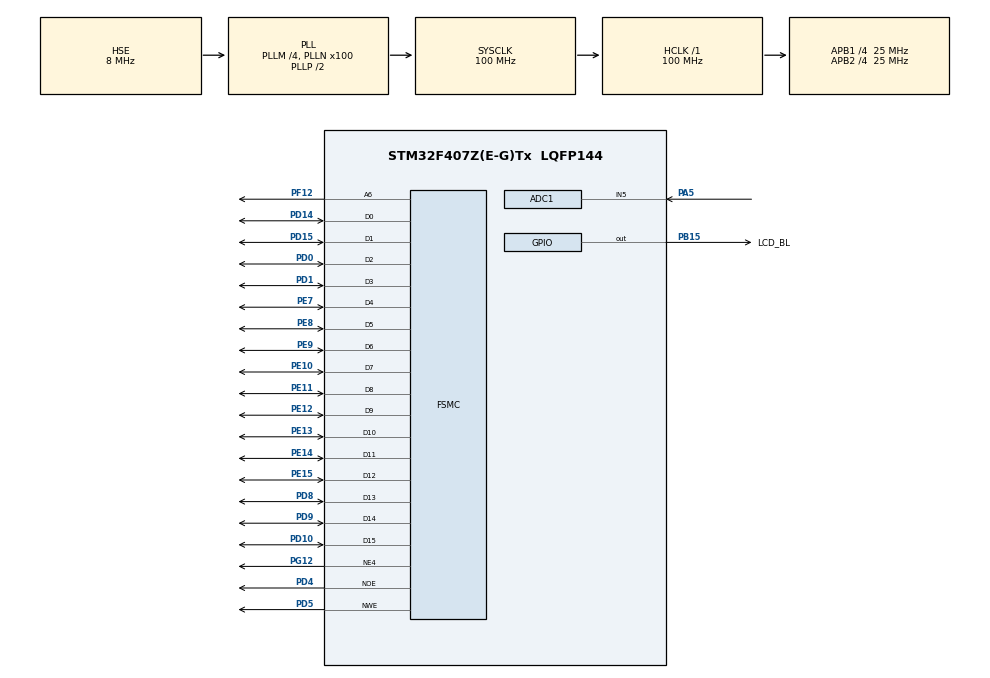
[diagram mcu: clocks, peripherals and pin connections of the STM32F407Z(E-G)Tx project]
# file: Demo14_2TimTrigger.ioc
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ADC1.Channel-0\#ChannelRegularConversion=ADC_CHANNEL_5
ADC1.EnableAnalogWatchDog=false
ADC1.ExternalTrigConv=ADC_EXTERNALTRIGCONV_T3_TRGO
ADC1.InjNumberOfConversion=0
ADC1.NbrOfConversion=1
ADC1.NbrOfConversionFlag=1
ADC1.Rank-0\#ChannelRegularConversion=1
ADC1.Resolution=ADC_RESOLUTION_12B
ADC1.SamplingTime-0\#ChannelRegularConversion=ADC_SAMPLETIME_28CYCLES
ADC1.master=1
FSMC.AccessMode4=FSMC_ACCESS_MODE_A
FSMC.AddressSetupTime4=2
FSMC.BusTurnAroundDuration4=0
FSMC.DataSetupTime4=16
FSMC.ExtendedAccessMode4=FSMC_ACCESS_MODE_A
FSMC.ExtendedAddressSetupTime4=4
FSMC.ExtendedBusTurnAroundDuration4=0
FSMC.ExtendedDataSetupTime4=9
FSMC.ExtendedMode4=FSMC_EXTENDED_MODE_ENABLE
FSMC.MemoryType4=FSMC_MEMORY_TYPE_SRAM
FSMC.NSBank4=FSMC_NORSRAM_BANK4
FSMC.WriteOperation4=FSMC_WRITE_OPERATION_ENABLE
Mcu.Family=STM32F4
Mcu.Name=STM32F407Z(E-G)Tx
Mcu.Package=LQFP144
NVIC.ADC_IRQn=true\:1\:0\:true\:false\:true\:true\:true\:true
NVIC.PriorityGroup=NVIC_PRIORITYGROUP_4
PA13.Mode=Serial_Wire
PA13.Signal=SYS_JTMS-SWDIO
PA14.Mode=Serial_Wire
PA14.Signal=SYS_JTCK-SWCLK
PA5.Signal=ADCx_IN5
PB15.GPIO_Label=LCD_BL
PB15.PinState=GPIO_PIN_RESET
PB15.Signal=GPIO_Output
PC14-OSC32_IN.Mode=LSE-External-Oscillator
PC14-OSC32_IN.Signal=RCC_OSC32_IN
PC15-OSC32_OUT.Mode=LSE-External-Oscillator
PC15-OSC32_OUT.Signal=RCC_OSC32_OUT
PD0.Signal=FSMC_D2_DA2
PD1.Signal=FSMC_D3_DA3
PD10.Signal=FSMC_D15_DA15
PD14.Signal=FSMC_D0_DA0
PD15.Signal=FSMC_D1_DA1
PD4.Signal=FSMC_NOE
PD5.Signal=FSMC_NWE
PD8.Signal=FSMC_D13_DA13
PD9.Signal=FSMC_D14_DA14
PE10.Signal=FSMC_D7_DA7
PE11.Signal=FSMC_D8_DA8
PE12.Signal=FSMC_D9_DA9
PE13.Signal=FSMC_D10_DA10
PE14.Signal=FSMC_D11_DA11
PE15.Signal=FSMC_D12_DA12
PE7.Signal=FSMC_D4_DA4
PE8.Signal=FSMC_D5_DA5
PE9.Signal=FSMC_D6_DA6
PF12.Signal=FSMC_A6
PG12.Mode=NorPsramChipSelect4_4
PG12.Signal=FSMC_NE4
PH0-OSC_IN.Mode=HSE-External-Oscillator
PH0-OSC_IN.Signal=RCC_OSC_IN
PH1-OSC_OUT.Mode=HSE-External-Oscillator
PH1-OSC_OUT.Signal=RCC_OSC_OUT
ProjectManager.HeapSize=0x200
ProjectManager.StackSize=0x400
ProjectManager.TargetToolchain=STM32CubeIDE
RCC.48MHZClocksFreq_Value=50000000
RCC.AHBFreq_Value=100000000
RCC.APB1CLKDivider=RCC_HCLK_DIV4
RCC.APB1Freq_Value=25000000
RCC.APB1TimFreq_Value=50000000
RCC.APB2CLKDivider=RCC_HCLK_DIV4
RCC.APB2Freq_Value=25000000
RCC.APB2TimFreq_Value=50000000
RCC.CortexFreq_Value=100000000
RCC.FLatency=FLASH_LATENCY_3
RCC.HCLKFreq_Value=100000000
RCC.HSE_VALUE=8000000
RCC.HSI_VALUE=16000000
RCC.PLLM=4
RCC.PLLN=100
RCC.PLLSourceVirtual=RCC_PLLSOURCE_HSE
RCC.SYSCLKFreq_VALUE=100000000
RCC.SYSCLKSource=RCC_SYSCLKSOURCE_PLLCLK
RCC.VCOOutputFreq_Value=200000000
SH.ADCx_IN5.0=ADC1_IN5,IN5
SH.FSMC_A6.0=FSMC_A6,A6_4
SH.FSMC_D0_DA0.0=FSMC_D0,16b-d4
SH.FSMC_D10_DA10.0=FSMC_D10,16b-d4
SH.FSMC_D11_DA11.0=FSMC_D11,16b-d4
SH.FSMC_D12_DA12.0=FSMC_D12,16b-d4
SH.FSMC_D13_DA13.0=FSMC_D13,16b-d4
SH.FSMC_D14_DA14.0=FSMC_D14,16b-d4
SH.FSMC_D15_DA15.0=FSMC_D15,16b-d4
SH.FSMC_D1_DA1.0=FSMC_D1,16b-d4
SH.FSMC_D2_DA2.0=FSMC_D2,16b-d4
SH.FSMC_D3_DA3.0=FSMC_D3,16b-d4
SH.FSMC_D4_DA4.0=FSMC_D4,16b-d4
SH.FSMC_D5_DA5.0=FSMC_D5,16b-d4
SH.FSMC_D6_DA6.0=FSMC_D6,16b-d4
SH.FSMC_D7_DA7.0=FSMC_D7,16b-d4
SH.FSMC_D8_DA8.0=FSMC_D8,16b-d4
SH.FSMC_D9_DA9.0=FSMC_D9,16b-d4
SH.FSMC_NOE.0=FSMC_NOE,Lcd4
SH.FSMC_NWE.0=FSMC_NWE,Lcd4
TIM3.Period=499
TIM3.Prescaler=49999
TIM3.TIM_MasterOutputTrigger=TIM_TRGO_UPDATE
VP_TIM3_VS_ClockSourceINT.Mode=Internal
board=custom

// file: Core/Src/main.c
/* USER CODE BEGIN Header */
/**
  ******************************************************************************
  * @file           : main.c
  * @brief          : Main program body
  ******************************************************************************
  * @attention
  *
  * Copyright (c) 2023 STMicroelectronics.
  * All rights reserved.
  *
  * This software is licensed under terms that can be found in the LICENSE file
  * in the root directory of this software component.
  * If no LICENSE file comes with this software, it is provided AS-IS.
  *
  ******************************************************************************
  */
/* USER CODE END Header */
#include "main.h"
#include "adc.h"
#include "tim.h"
#include "gpio.h"
#include "fsmc.h"

/* USER CODE BEGIN Includes */
#include "lcd.h"
/* USER CODE END Includes */

void SystemClock_Config(void);

int main(void)
{

  /* MCU Configuration--------------------------------------------------------*/

  /* Reset of all peripherals, Initializes the Flash interface and the Systick. */
  HAL_Init();

  /* Configure the system clock */
  SystemClock_Config();

  /* Initialize all configured peripherals */
  MX_GPIO_Init();
  MX_FSMC_Init();
  MX_ADC1_Init();
  MX_TIM3_Init();
  /* USER CODE BEGIN 2 */
  lcd_init();
  lcd_show_str(10, 10, 24, "Demo14_2:ADC by Timer Trigger", RED);
  lcd_show_str(10, 40, 24, "ADC1-IN5 channel", RED);
  lcd_show_str(10, 70, 24, "TIM3's interval is 500ms", RED);
  lcd_show_str(10,100, 24, "Please set jumper at first", RED);
  lcd_show_str(10,130, 24, "Tune potentiometer for input", RED);
  lcd_show_str(10,160, 24, "ADC 12-bits Value = ", RED);
  lcd_show_str(10,220, 24, "Voltage(mV) = ", RED);

  HAL_ADC_Start_IT(&hadc1);
  HAL_TIM_Base_Start(&htim3);
  /* USER CODE END 2 */

  /* Infinite loop */
  while (1)
  {

  }
}

void SystemClock_Config(void)
{
  RCC_OscInitTypeDef RCC_OscInitStruct = {0};
  RCC_ClkInitTypeDef RCC_ClkInitStruct = {0};

  /** Configure the main internal regulator output voltage
  */
  __HAL_RCC_PWR_CLK_ENABLE();
  __HAL_PWR_VOLTAGESCALING_CONFIG(PWR_REGULATOR_VOLTAGE_SCALE1);

  /** Initializes the RCC Oscillators according to the specified parameters
  * in the RCC_OscInitTypeDef structure.
  */
  RCC_OscInitStruct.OscillatorType = RCC_OSCILLATORTYPE_HSE;
  RCC_OscInitStruct.HSEState = RCC_HSE_ON;
  RCC_OscInitStruct.PLL.PLLState = RCC_PLL_ON;
  RCC_OscInitStruct.PLL.PLLSource = RCC_PLLSOURCE_HSE;
  RCC_OscInitStruct.PLL.PLLM = 4;
  RCC_OscInitStruct.PLL.PLLN = 100;
  RCC_OscInitStruct.PLL.PLLP = RCC_PLLP_DIV2;
  RCC_OscInitStruct.PLL.PLLQ = 4;
  if (HAL_RCC_OscConfig(&RCC_OscInitStruct) != HAL_OK)
  {
    Error_Handler();
  }

  /** Initializes the CPU, AHB and APB buses clocks
  */
  RCC_ClkInitStruct.ClockType = RCC_CLOCKTYPE_HCLK|RCC_CLOCKTYPE_SYSCLK
                              |RCC_CLOCKTYPE_PCLK1|RCC_CLOCKTYPE_PCLK2;
  RCC_ClkInitStruct.SYSCLKSource = RCC_SYSCLKSOURCE_PLLCLK;
  RCC_ClkInitStruct.AHBCLKDivider = RCC_SYSCLK_DIV1;
  RCC_ClkInitStruct.APB1CLKDivider = RCC_HCLK_DIV4;
  RCC_ClkInitStruct.APB2CLKDivider = RCC_HCLK_DIV4;

  if (HAL_RCC_ClockConfig(&RCC_ClkInitStruct, FLASH_LATENCY_3) != HAL_OK)
  {
    Error_Handler();
  }
}

/* USER CODE BEGIN 4 */
__weak void HAL_ADC_ConvCpltCallback(ADC_HandleTypeDef* hadc) {
	if (hadc->Instance == ADC1) {
		uint32_t val = HAL_ADC_GetValue(&hadc1);
		lcd_show_num(50, 190, val, 4, 24, RED);

		uint32_t Volt = 3300 * val >> 12;
		lcd_show_num(50, 250, Volt, 4, 24, RED);
	}
}
/* USER CODE END 4 */

void Error_Handler(void)
{
  __disable_irq();
  while (1)
  {
  }
}
